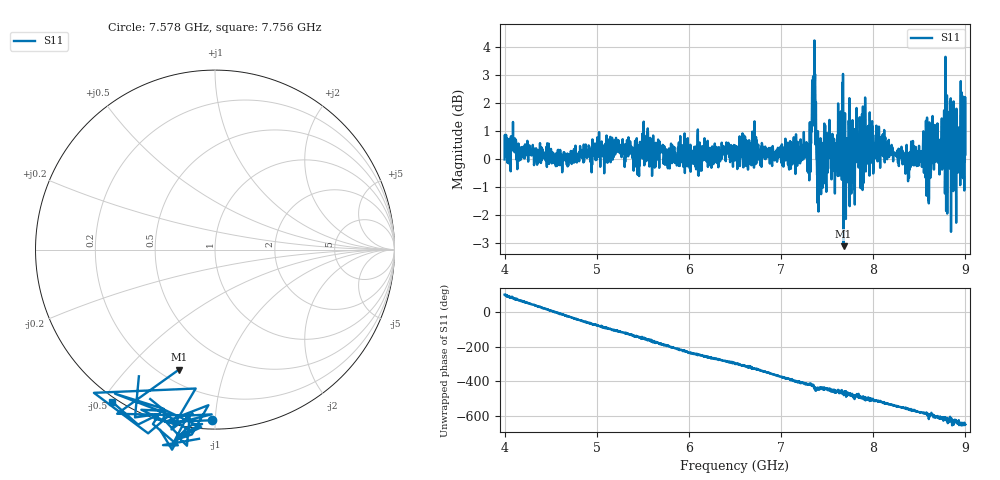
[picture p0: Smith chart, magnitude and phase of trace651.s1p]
! Created with skrf 1.8.0 (http://scikit-rf.org).
# Hz S RI R 50.0
!freq ReS11 ImS11
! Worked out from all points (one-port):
!   1601 points, 4 GHz to 9 GHz, reference 50 ohm
!   lowest |S11| = -3.1 dB at 7.678 GHz (marker M1), VSWR 5.64, Z = 13.5 - j35.4 ohm
!   |S11| at or under -10 dB: nowhere
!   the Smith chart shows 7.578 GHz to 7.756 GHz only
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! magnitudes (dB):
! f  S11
! 4 GHz  0.0
! 4.1 GHz  0.3
! 4.153 GHz  0.5
! 4.625 GHz  -0.5
! 5.25 GHz  0.5
! 5.875 GHz  0.1
! 6.5 GHz  0.5
! 7.125 GHz  0.2
! 7.294 GHz  -0.5
! 7.353 GHz  1.5
! 7.369 GHz  3.0
! 7.409 GHz  -0.6
! 7.519 GHz  0.0
! 7.591 GHz  0.6
! 7.65 GHz  1.7
! 7.678 GHz  -3.1
! 7.691 GHz  0.0
! 7.703 GHz  -2.1
! 7.75 GHz  -0.3
! 7.928 GHz  0.8
! 8.375 GHz  0.1
! 8.522 GHz  0.0
! 8.616 GHz  0.6
! 8.666 GHz  0.6
! 8.809 GHz  1.5
! 8.9 GHz  -2.3
! 8.956 GHz  0.1
! 9 GHz  0.2
